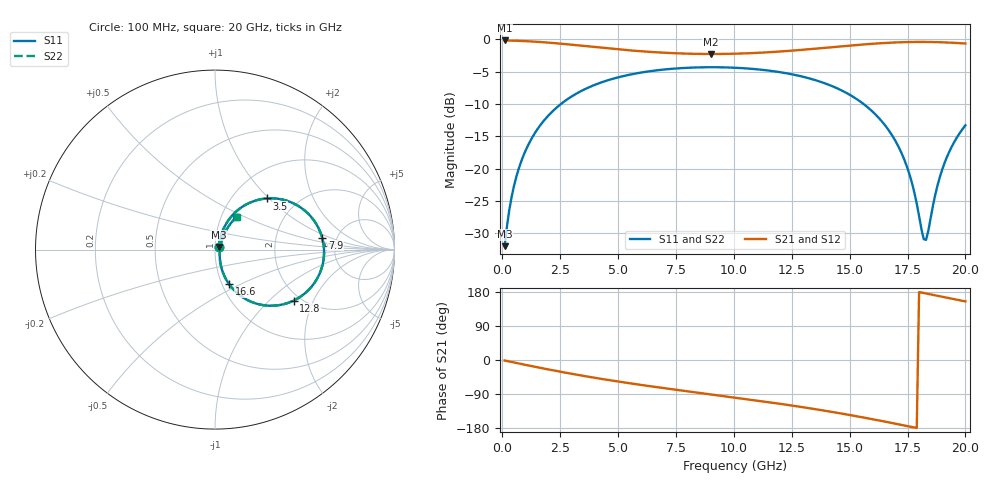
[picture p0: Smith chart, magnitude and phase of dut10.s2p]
! Touchstone file exported from HFSS 2026.1.0
!  File:  C:/ffzhzh/LocalFiles/Ansys_Project_Files/temp_train_TSV_RDL_10_1782961398_45308.aedt
!  Generated:  11:15:47 AM Jul  2, 2026
!  Design:  TSV_RDL
!  Project:  temp_train_TSV_RDL_10_1782961398_45308
! Variables:
!  h_bsmrdl = 3.14um
!  h_ox = 20um
!  h_rdl = 5um
!  h_sub = 84.45um
!  h_tmrdl = 4.02um
!  h_tsv = 84.45um
!  h_via = 3um
!  l_bsmrdl = 331.43um
!  l_sub = 3307.43um
!  l_tmrdl = 449.14um
!  m_sub = 200um
!  pitch = 53.53um
!  r_tsv = 3.74um
!  s_tmrdl = 10um
!  w_bsmrdl = 11.78um
!  w_sub = 500um
!  w_tmrdl = 27.08um
!  x_tsv_center1 = 462.68um
!  x_tsv_center2 = 805.89um
!  x_tsv_center3 = 1282.11um
!  x_tsv_center4 = 1625.32um
!  x_tsv_center5 = 2101.54um
!  x_tsv_center6 = 2444.75um
# GHz S MA R 50.000000
! Terminal data exported
! Port[1] = TM_RDL1_1_T1
! Port[2] = TM_RDL5_1_T1
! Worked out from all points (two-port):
!   200 points, 100 MHz to 20 GHz, reference 50 ohm
!   highest |S21| = -0.18 dB at 100 MHz (marker M1); lowest = -2.3 dB at 9 GHz (marker M2)
!   |S21| within 3 dB of the highest: start of sweep to end of sweep
!   lowest |S11| = -32.0 dB at 100 MHz (marker M3), VSWR 1.05, Z = 52.1 + j1.46 ohm
!   |S11| at or under -10 dB: start of sweep to 2.536 GHz; 15.6 GHz to end of sweep
!   |S22| runs from -32.0 to -4.3 dB; largest |S21 - S12| = 7.2e-14
!   S11 on the Smith chart (normalised r, x): 100 MHz: 1.04, +0.03; 3.5 GHz: 1.42, +0.97; 7.9 GHz: 3.83, +0.80; 12.8 GHz: 1.84, -1.43; 16.6 GHz: 1.08, -0.43; 20 GHz: 1.18, +0.45
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0.1  0.02511 33.8  0.9794 -1.3  0.9794 -1.3  0.02511 33.8
! Gamma 0 0 0 0
! Port Impedance 50 0 50 0
0.3  0.04753 59.1  0.9775 -3.9  0.9775 -3.9  0.04753 59.1
0.5  0.0728 65.6  0.9752 -6.5  0.9752 -6.5  0.0728 65.6
1.1  0.1497 67.0  0.9656 -14.0  0.9656 -14.0  0.1497 67.0
2.1  0.2696 58.7  0.939 -26.2  0.939 -26.2  0.2696 58.7
3.5  0.4058 44.7  0.889 -41.8  0.889 -41.8  0.4058 44.7
6.8  0.5789 15.1  0.7905 -72.7  0.7905 -72.7  0.5789 15.1
7.9  0.6007 6.4  0.7749 -81.8  0.7749 -81.8  0.6006 6.4
9  0.6081 -2.2  0.7695 -90.7  0.7695 -90.7  0.6081 -2.2
10.1  0.6018 -10.7  0.774 -99.6  0.774 -99.6  0.6018 -10.7
12.8  0.5225 -32.9  0.8247 -122.9  0.8247 -122.9  0.5225 -32.9
13.4  0.4903 -38.2  0.8422 -128.6  0.8422 -128.6  0.4902 -38.2
15.3  0.3453 -56.2  0.9032 -148.4  0.9032 -148.4  0.3452 -56.1
16.6  0.2081 -67.9  0.938 -163.5  0.938 -163.5  0.2081 -67.8
16.7  0.1965 -68.6  0.9401 -164.7  0.9401 -164.7  0.1965 -68.5
17.5  0.1005 -70.3  0.9517 -174.5  0.9517 -174.5  0.1005 -70.2
17.8  0.06471 -64.7  0.9537 -178.3  0.9537 -178.3  0.06481 -64.4
18.2  0.02848 -19.6  0.9542 176.7  0.9542 176.7  0.02877 -19.4
18.3  0.02807 5.4  0.9539 175.5  0.9539 175.5  0.02837 5.3
18.7  0.06295 53.3  0.9513 170.5  0.9513 170.5  0.06312 53.0
19  0.09839 59.3  0.9478 166.8  0.9478 166.8  0.09851 59.1
20  0.2161 56.4  0.9274 154.6  0.9274 154.6  0.2161 56.3
